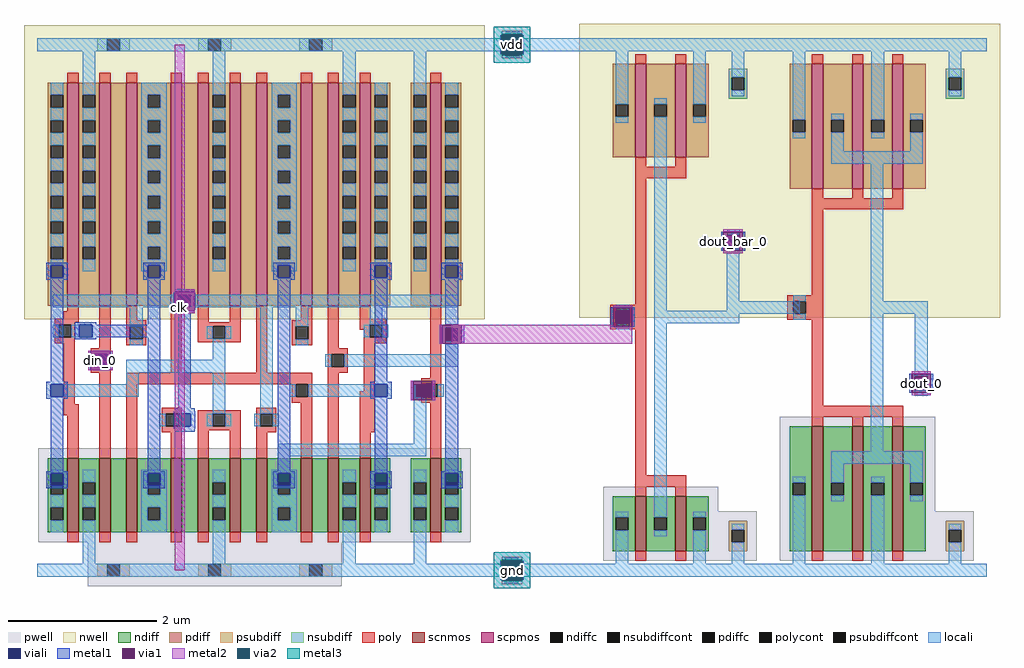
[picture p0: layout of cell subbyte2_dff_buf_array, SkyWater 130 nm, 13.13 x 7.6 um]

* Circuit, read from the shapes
.subckt subbyte2_dff_buf_array vdd gnd din_0 dout_0 dout_bar_0 clk
XM1 gnd n1 n2 gnd sky130_fd_pr__nfet_01v8 w=1 l=0.15
XM2 n3 din_0 gnd gnd sky130_fd_pr__nfet_01v8 w=1 l=0.15
XM3 n1 n4 n3 gnd sky130_fd_pr__nfet_01v8 w=1 l=0.15
XM4 n5 clk n1 gnd sky130_fd_pr__nfet_01v8 w=1 l=0.15
XM5 gnd n2 n5 gnd sky130_fd_pr__nfet_01v8 w=1 l=0.15
XM6 n6 n2 gnd gnd sky130_fd_pr__nfet_01v8 w=1 l=0.15
XM7 subbyte2_dff_buf_0_0/sky130_fd_bd_sram__openram_dff_0/QN clk n6 gnd sky130_fd_pr__nfet_01v8 w=1 l=0.15
XM8 n7 n4 subbyte2_dff_buf_0_0/sky130_fd_bd_sram__openram_dff_0/QN gnd sky130_fd_pr__nfet_01v8 w=1 l=0.15
XM9 gnd subbyte2_dff_buf_0_0/subbyte2_pinv_1_0/A n7 gnd sky130_fd_pr__nfet_01v8 w=1 l=0.15
XM10 n4 clk gnd gnd sky130_fd_pr__nfet_01v8 w=1 l=0.15
XM11 subbyte2_dff_buf_0_0/subbyte2_pinv_1_0/A subbyte2_dff_buf_0_0/sky130_fd_bd_sram__openram_dff_0/QN gnd gnd sky130_fd_pr__nfet_01v8 w=1 l=0.15
XM12 dout_bar_0 subbyte2_dff_buf_0_0/subbyte2_pinv_1_0/A gnd gnd sky130_fd_pr__nfet_01v8 w=0.74 l=0.15 m=2
XM13 dout_0 dout_bar_0 gnd gnd sky130_fd_pr__nfet_01v8 w=1.68 l=0.15 m=3
XM14 vdd n1 n2 vdd sky130_fd_pr__pfet_01v8 w=3 l=0.15
XM15 n8 din_0 vdd vdd sky130_fd_pr__pfet_01v8 w=3 l=0.15
XM16 n1 clk n8 vdd sky130_fd_pr__pfet_01v8 w=3 l=0.15
XM17 n9 n4 n1 vdd sky130_fd_pr__pfet_01v8 w=3 l=0.15
XM18 vdd n2 n9 vdd sky130_fd_pr__pfet_01v8 w=3 l=0.15
XM19 n10 n2 vdd vdd sky130_fd_pr__pfet_01v8 w=3 l=0.15
XM20 subbyte2_dff_buf_0_0/sky130_fd_bd_sram__openram_dff_0/QN n4 n10 vdd sky130_fd_pr__pfet_01v8 w=3 l=0.15
XM21 n11 clk subbyte2_dff_buf_0_0/sky130_fd_bd_sram__openram_dff_0/QN vdd sky130_fd_pr__pfet_01v8 w=3 l=0.15
XM22 vdd subbyte2_dff_buf_0_0/subbyte2_pinv_1_0/A n11 vdd sky130_fd_pr__pfet_01v8 w=3 l=0.15
XM23 n4 clk vdd vdd sky130_fd_pr__pfet_01v8 w=3 l=0.15
XM24 subbyte2_dff_buf_0_0/subbyte2_pinv_1_0/A subbyte2_dff_buf_0_0/sky130_fd_bd_sram__openram_dff_0/QN vdd vdd sky130_fd_pr__pfet_01v8 w=3 l=0.15
XM25 dout_bar_0 subbyte2_dff_buf_0_0/subbyte2_pinv_1_0/A vdd vdd sky130_fd_pr__pfet_01v8 w=1.26 l=0.15 m=2
XM26 dout_0 dout_bar_0 vdd vdd sky130_fd_pr__pfet_01v8 w=1.68 l=0.15 m=3
.ends

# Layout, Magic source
magic
tech sky130A
magscale 1 2
<< locali >>
rect 1260 1432 1294 1447
rect 0 1431 2554 1432
rect 0 1397 1260 1431
rect 1294 1397 2554 1431
rect 0 1396 2554 1397
rect 1260 1381 1294 1396
rect 1260 18 1294 33
rect 0 17 2554 18
rect 0 -17 1260 17
rect 1294 -17 2554 17
rect 0 -18 2554 -17
rect 1260 -33 1294 -18
<< viali >>
rect 1260 1397 1294 1431
rect 1260 -17 1294 17
<< metal1 >>
rect 1245 1388 1251 1440
rect 1303 1388 1309 1440
rect 1245 -26 1251 26
rect 1303 -26 1309 26
<< via1 >>
rect 1251 1431 1303 1440
rect 1251 1397 1260 1431
rect 1260 1397 1294 1431
rect 1294 1397 1303 1431
rect 1251 1388 1303 1397
rect 1251 17 1303 26
rect 1251 -17 1260 17
rect 1260 -17 1294 17
rect 1294 -17 1303 17
rect 1251 -26 1303 -17
<< metal2 >>
rect 1249 1442 1305 1451
rect 137 538 203 590
rect 369 0 397 1414
rect 1249 1377 1305 1386
rect 1858 871 1886 899
rect 2364 489 2392 517
rect 1249 28 1305 37
rect 1249 -37 1305 -28
<< via2 >>
rect 1249 1440 1305 1442
rect 1249 1388 1251 1440
rect 1251 1388 1303 1440
rect 1303 1388 1305 1440
rect 1249 1386 1305 1388
rect 1249 26 1305 28
rect 1249 -26 1251 26
rect 1251 -26 1303 26
rect 1303 -26 1305 26
rect 1249 -28 1305 -26
<< metal3 >>
rect 1228 1442 1326 1463
rect 1228 1386 1249 1442
rect 1305 1386 1326 1442
rect 1228 1365 1326 1386
rect 1228 28 1326 49
rect 1228 -28 1249 28
rect 1305 -28 1326 28
rect 1228 -49 1326 -28
use subbyte2_dff_buf_0  subbyte2_dff_buf_0_0
transform 1 0 0 0 1 0
box -36 -43 2590 1471
<< labels >>
rlabel metal3 s 1228 1365 1326 1463 4 vdd
port 3 nsew
rlabel metal3 s 1228 -49 1326 49 4 gnd
port 5 nsew
rlabel metal2 s 137 538 203 590 4 din_0
port 7 nsew
rlabel metal2 s 2364 489 2392 517 4 dout_0
port 9 nsew
rlabel metal2 s 1858 871 1886 899 4 dout_bar_0
port 11 nsew
rlabel metal2 s 369 0 397 1414 4 clk
port 13 nsew
<< properties >>
string FIXED_BBOX 1244 -37 1310 0
<< end >>

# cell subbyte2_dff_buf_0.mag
magic
tech sky130A
magscale 1 2
<< locali >>
rect 0 1396 2554 1432
rect 1856 902 1890 918
rect 1855 868 1856 885
rect 1855 852 1890 868
rect 1855 724 1889 852
rect 1558 698 1592 714
rect 1855 698 2051 724
rect 1694 690 2051 698
rect 2276 690 2395 724
rect 1694 664 1889 690
rect 1558 648 1592 664
rect 2361 520 2395 690
rect 2361 470 2395 486
rect 0 -18 2554 18
<< viali >>
rect 1856 868 1890 902
rect 1558 664 1592 698
rect 2361 486 2395 520
<< metal1 >>
rect 1840 859 1846 911
rect 1898 859 1904 911
rect 1543 655 1549 707
rect 1601 655 1607 707
rect 2346 477 2352 529
rect 2404 477 2410 529
<< via1 >>
rect 1846 902 1898 911
rect 1846 868 1856 902
rect 1856 868 1890 902
rect 1890 868 1898 902
rect 1846 859 1898 868
rect 1549 698 1601 707
rect 1549 664 1558 698
rect 1558 664 1592 698
rect 1592 664 1601 698
rect 1549 655 1601 664
rect 2352 520 2404 529
rect 2352 486 2361 520
rect 2361 486 2395 520
rect 2395 486 2404 520
rect 2352 477 2404 486
<< metal2 >>
rect 1846 911 1898 917
rect 1846 853 1898 859
rect 369 692 423 756
rect 1549 707 1601 713
rect 1115 655 1549 661
rect 1115 609 1601 655
rect 137 538 203 590
rect 2352 529 2404 535
rect 2352 471 2404 477
use sky130_fd_bd_sram__openram_dff  sky130_fd_bd_sram__openram_dff_0
transform 1 0 0 0 1 0
box -36 -43 1204 1467
use subbyte2_pinv_1  subbyte2_pinv_1_0
transform 1 0 1494 0 1 0
box -36 -17 512 1471
use subbyte2_pinv_2  subbyte2_pinv_2_0
transform 1 0 1970 0 1 0
box -36 -17 620 1471
<< labels >>
rlabel locali s 1277 1414 1277 1414 4 vdd
port 2 nsew
rlabel locali s 1277 0 1277 0 4 gnd
port 3 nsew
rlabel metal2 s 369 692 423 756 4 clk
port 5 nsew
rlabel metal2 s 137 538 203 590 4 D
port 7 nsew
rlabel metal2 s 2364 489 2392 517 4 Q
port 9 nsew
rlabel metal2 s 1858 871 1886 899 4 Qb
port 11 nsew
<< properties >>
string FIXED_BBOX 0 0 2554 1414
<< end >>

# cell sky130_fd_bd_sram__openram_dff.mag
magic
tech sky130A
magscale 1 2
<< nwell >>
rect -36 676 1204 1467
<< pwell >>
rect 2 76 1166 328
rect 135 -43 819 76
<< scnmos >>
rect 81 102 111 302
rect 167 102 197 302
rect 239 102 269 302
rect 359 102 389 302
rect 431 102 461 302
rect 517 102 547 302
rect 589 102 619 302
rect 709 102 739 302
rect 781 102 811 302
rect 867 102 897 302
rect 1057 102 1087 302
<< scpmos >>
rect 81 712 111 1312
rect 167 712 197 1312
rect 239 712 269 1312
rect 359 712 389 1312
rect 431 712 461 1312
rect 517 712 547 1312
rect 589 712 619 1312
rect 709 712 739 1312
rect 781 712 811 1312
rect 867 712 897 1312
rect 1057 712 1087 1312
<< ndiff >>
rect 28 237 81 302
rect 28 203 36 237
rect 70 203 81 237
rect 28 169 81 203
rect 28 135 36 169
rect 70 135 81 169
rect 28 102 81 135
rect 111 237 167 302
rect 111 203 122 237
rect 156 203 167 237
rect 111 169 167 203
rect 111 135 122 169
rect 156 135 167 169
rect 111 102 167 135
rect 197 102 239 302
rect 269 237 359 302
rect 269 203 297 237
rect 331 203 359 237
rect 269 169 359 203
rect 269 135 297 169
rect 331 135 359 169
rect 269 102 359 135
rect 389 102 431 302
rect 461 237 517 302
rect 461 203 472 237
rect 506 203 517 237
rect 461 169 517 203
rect 461 135 472 169
rect 506 135 517 169
rect 461 102 517 135
rect 547 102 589 302
rect 619 237 709 302
rect 619 203 647 237
rect 681 203 709 237
rect 619 169 709 203
rect 619 135 647 169
rect 681 135 709 169
rect 619 102 709 135
rect 739 102 781 302
rect 811 237 867 302
rect 811 203 822 237
rect 856 203 867 237
rect 811 169 867 203
rect 811 135 822 169
rect 856 135 867 169
rect 811 102 867 135
rect 897 237 950 302
rect 897 203 908 237
rect 942 203 950 237
rect 897 169 950 203
rect 897 135 908 169
rect 942 135 950 169
rect 897 102 950 135
rect 1004 237 1057 302
rect 1004 203 1012 237
rect 1046 203 1057 237
rect 1004 169 1057 203
rect 1004 135 1012 169
rect 1046 135 1057 169
rect 1004 102 1057 135
rect 1087 237 1140 302
rect 1087 203 1098 237
rect 1132 203 1140 237
rect 1087 169 1140 203
rect 1087 135 1098 169
rect 1132 135 1140 169
rect 1087 102 1140 135
<< pdiff >>
rect 28 1279 81 1312
rect 28 1245 36 1279
rect 70 1245 81 1279
rect 28 1211 81 1245
rect 28 1177 36 1211
rect 70 1177 81 1211
rect 28 1143 81 1177
rect 28 1109 36 1143
rect 70 1109 81 1143
rect 28 1075 81 1109
rect 28 1041 36 1075
rect 70 1041 81 1075
rect 28 1007 81 1041
rect 28 973 36 1007
rect 70 973 81 1007
rect 28 939 81 973
rect 28 905 36 939
rect 70 905 81 939
rect 28 871 81 905
rect 28 837 36 871
rect 70 837 81 871
rect 28 712 81 837
rect 111 1279 167 1312
rect 111 1245 122 1279
rect 156 1245 167 1279
rect 111 1211 167 1245
rect 111 1177 122 1211
rect 156 1177 167 1211
rect 111 1143 167 1177
rect 111 1109 122 1143
rect 156 1109 167 1143
rect 111 1075 167 1109
rect 111 1041 122 1075
rect 156 1041 167 1075
rect 111 1007 167 1041
rect 111 973 122 1007
rect 156 973 167 1007
rect 111 939 167 973
rect 111 905 122 939
rect 156 905 167 939
rect 111 871 167 905
rect 111 837 122 871
rect 156 837 167 871
rect 111 712 167 837
rect 197 712 239 1312
rect 269 1279 359 1312
rect 269 1245 297 1279
rect 331 1245 359 1279
rect 269 1211 359 1245
rect 269 1177 297 1211
rect 331 1177 359 1211
rect 269 1143 359 1177
rect 269 1109 297 1143
rect 331 1109 359 1143
rect 269 1075 359 1109
rect 269 1041 297 1075
rect 331 1041 359 1075
rect 269 1007 359 1041
rect 269 973 297 1007
rect 331 973 359 1007
rect 269 939 359 973
rect 269 905 297 939
rect 331 905 359 939
rect 269 871 359 905
rect 269 837 297 871
rect 331 837 359 871
rect 269 712 359 837
rect 389 712 431 1312
rect 461 1279 517 1312
rect 461 1245 472 1279
rect 506 1245 517 1279
rect 461 1211 517 1245
rect 461 1177 472 1211
rect 506 1177 517 1211
rect 461 1143 517 1177
rect 461 1109 472 1143
rect 506 1109 517 1143
rect 461 1075 517 1109
rect 461 1041 472 1075
rect 506 1041 517 1075
rect 461 1007 517 1041
rect 461 973 472 1007
rect 506 973 517 1007
rect 461 939 517 973
rect 461 905 472 939
rect 506 905 517 939
rect 461 871 517 905
rect 461 837 472 871
rect 506 837 517 871
rect 461 712 517 837
rect 547 712 589 1312
rect 619 1279 709 1312
rect 619 1245 647 1279
rect 681 1245 709 1279
rect 619 1211 709 1245
rect 619 1177 647 1211
rect 681 1177 709 1211
rect 619 1143 709 1177
rect 619 1109 647 1143
rect 681 1109 709 1143
rect 619 1075 709 1109
rect 619 1041 647 1075
rect 681 1041 709 1075
rect 619 1007 709 1041
rect 619 973 647 1007
rect 681 973 709 1007
rect 619 939 709 973
rect 619 905 647 939
rect 681 905 709 939
rect 619 871 709 905
rect 619 837 647 871
rect 681 837 709 871
rect 619 712 709 837
rect 739 712 781 1312
rect 811 1279 867 1312
rect 811 1245 822 1279
rect 856 1245 867 1279
rect 811 1211 867 1245
rect 811 1177 822 1211
rect 856 1177 867 1211
rect 811 1143 867 1177
rect 811 1109 822 1143
rect 856 1109 867 1143
rect 811 1075 867 1109
rect 811 1041 822 1075
rect 856 1041 867 1075
rect 811 1007 867 1041
rect 811 973 822 1007
rect 856 973 867 1007
rect 811 939 867 973
rect 811 905 822 939
rect 856 905 867 939
rect 811 871 867 905
rect 811 837 822 871
rect 856 837 867 871
rect 811 712 867 837
rect 897 1279 950 1312
rect 897 1245 908 1279
rect 942 1245 950 1279
rect 897 1211 950 1245
rect 897 1177 908 1211
rect 942 1177 950 1211
rect 897 1143 950 1177
rect 897 1109 908 1143
rect 942 1109 950 1143
rect 897 1075 950 1109
rect 897 1041 908 1075
rect 942 1041 950 1075
rect 897 1007 950 1041
rect 897 973 908 1007
rect 942 973 950 1007
rect 897 939 950 973
rect 897 905 908 939
rect 942 905 950 939
rect 897 871 950 905
rect 897 837 908 871
rect 942 837 950 871
rect 897 712 950 837
rect 1004 1279 1057 1312
rect 1004 1245 1012 1279
rect 1046 1245 1057 1279
rect 1004 1211 1057 1245
rect 1004 1177 1012 1211
rect 1046 1177 1057 1211
rect 1004 1143 1057 1177
rect 1004 1109 1012 1143
rect 1046 1109 1057 1143
rect 1004 1075 1057 1109
rect 1004 1041 1012 1075
rect 1046 1041 1057 1075
rect 1004 1007 1057 1041
rect 1004 973 1012 1007
rect 1046 973 1057 1007
rect 1004 939 1057 973
rect 1004 905 1012 939
rect 1046 905 1057 939
rect 1004 871 1057 905
rect 1004 837 1012 871
rect 1046 837 1057 871
rect 1004 712 1057 837
rect 1087 1279 1140 1312
rect 1087 1245 1098 1279
rect 1132 1245 1140 1279
rect 1087 1211 1140 1245
rect 1087 1177 1098 1211
rect 1132 1177 1140 1211
rect 1087 1143 1140 1177
rect 1087 1109 1098 1143
rect 1132 1109 1140 1143
rect 1087 1075 1140 1109
rect 1087 1041 1098 1075
rect 1132 1041 1140 1075
rect 1087 1007 1140 1041
rect 1087 973 1098 1007
rect 1132 973 1140 1007
rect 1087 939 1140 973
rect 1087 905 1098 939
rect 1132 905 1140 939
rect 1087 871 1140 905
rect 1087 837 1098 871
rect 1132 837 1140 871
rect 1087 712 1140 837
<< ndiffc >>
rect 36 203 70 237
rect 36 135 70 169
rect 122 203 156 237
rect 122 135 156 169
rect 297 203 331 237
rect 297 135 331 169
rect 472 203 506 237
rect 472 135 506 169
rect 647 203 681 237
rect 647 135 681 169
rect 822 203 856 237
rect 822 135 856 169
rect 908 203 942 237
rect 908 135 942 169
rect 1012 203 1046 237
rect 1012 135 1046 169
rect 1098 203 1132 237
rect 1098 135 1132 169
<< pdiffc >>
rect 36 1245 70 1279
rect 36 1177 70 1211
rect 36 1109 70 1143
rect 36 1041 70 1075
rect 36 973 70 1007
rect 36 905 70 939
rect 36 837 70 871
rect 122 1245 156 1279
rect 122 1177 156 1211
rect 122 1109 156 1143
rect 122 1041 156 1075
rect 122 973 156 1007
rect 122 905 156 939
rect 122 837 156 871
rect 297 1245 331 1279
rect 297 1177 331 1211
rect 297 1109 331 1143
rect 297 1041 331 1075
rect 297 973 331 1007
rect 297 905 331 939
rect 297 837 331 871
rect 472 1245 506 1279
rect 472 1177 506 1211
rect 472 1109 506 1143
rect 472 1041 506 1075
rect 472 973 506 1007
rect 472 905 506 939
rect 472 837 506 871
rect 647 1245 681 1279
rect 647 1177 681 1211
rect 647 1109 681 1143
rect 647 1041 681 1075
rect 647 973 681 1007
rect 647 905 681 939
rect 647 837 681 871
rect 822 1245 856 1279
rect 822 1177 856 1211
rect 822 1109 856 1143
rect 822 1041 856 1075
rect 822 973 856 1007
rect 822 905 856 939
rect 822 837 856 871
rect 908 1245 942 1279
rect 908 1177 942 1211
rect 908 1109 942 1143
rect 908 1041 942 1075
rect 908 973 942 1007
rect 908 905 942 939
rect 908 837 942 871
rect 1012 1245 1046 1279
rect 1012 1177 1046 1211
rect 1012 1109 1046 1143
rect 1012 1041 1046 1075
rect 1012 973 1046 1007
rect 1012 905 1046 939
rect 1012 837 1046 871
rect 1098 1245 1132 1279
rect 1098 1177 1132 1211
rect 1098 1109 1132 1143
rect 1098 1041 1132 1075
rect 1098 973 1132 1007
rect 1098 905 1132 939
rect 1098 837 1132 871
<< psubdiff >>
rect 161 -17 188 17
rect 222 -17 249 17
rect 433 -17 460 17
rect 494 -17 521 17
rect 705 -17 732 17
rect 766 -17 793 17
<< nsubdiff >>
rect 161 1397 188 1431
rect 222 1397 249 1431
rect 433 1397 460 1431
rect 494 1397 521 1431
rect 705 1397 732 1431
rect 766 1397 793 1431
<< psubdiffcont >>
rect 188 -17 222 17
rect 460 -17 494 17
rect 732 -17 766 17
<< nsubdiffcont >>
rect 188 1397 222 1431
rect 460 1397 494 1431
rect 732 1397 766 1431
<< poly >>
rect 81 1312 111 1338
rect 167 1312 197 1338
rect 239 1312 269 1338
rect 359 1312 389 1338
rect 431 1312 461 1338
rect 517 1312 547 1338
rect 589 1312 619 1338
rect 709 1312 739 1338
rect 781 1312 811 1338
rect 867 1312 897 1338
rect 1057 1312 1087 1338
rect 81 697 111 712
rect 70 677 111 697
rect 47 667 111 677
rect 47 661 101 667
rect 47 627 57 661
rect 91 627 101 661
rect 47 611 101 627
rect 71 447 101 611
rect 167 597 197 712
rect 239 672 269 712
rect 239 656 293 672
rect 239 622 249 656
rect 283 622 293 656
rect 239 606 293 622
rect 143 581 197 597
rect 143 547 153 581
rect 187 547 197 581
rect 143 531 197 547
rect 359 531 389 712
rect 431 667 461 712
rect 517 667 547 712
rect 431 657 547 667
rect 431 623 472 657
rect 506 623 547 657
rect 431 613 547 623
rect 589 531 619 712
rect 709 672 739 712
rect 685 656 739 672
rect 685 622 695 656
rect 729 622 739 656
rect 685 606 739 622
rect 781 597 811 712
rect 867 677 897 712
rect 867 661 938 677
rect 867 647 894 661
rect 878 627 894 647
rect 928 627 938 661
rect 878 611 938 627
rect 781 581 835 597
rect 781 547 791 581
rect 825 547 835 581
rect 781 531 835 547
rect 71 417 111 447
rect 81 302 111 417
rect 167 302 197 531
rect 239 501 739 531
rect 239 302 269 501
rect 685 467 695 501
rect 729 467 739 501
rect 685 451 739 467
rect 335 421 389 437
rect 335 387 345 421
rect 379 387 389 421
rect 335 371 389 387
rect 359 302 389 371
rect 431 421 547 431
rect 431 387 472 421
rect 506 387 547 421
rect 431 377 547 387
rect 431 302 461 377
rect 517 302 547 377
rect 589 421 643 437
rect 589 387 599 421
rect 633 387 643 421
rect 589 371 643 387
rect 589 302 619 371
rect 709 302 739 451
rect 781 302 811 531
rect 878 481 908 611
rect 1057 517 1087 712
rect 867 371 908 481
rect 1033 501 1087 517
rect 1033 467 1043 501
rect 1077 467 1087 501
rect 1033 451 1087 467
rect 867 302 897 371
rect 1057 302 1087 451
rect 81 76 111 102
rect 167 76 197 102
rect 239 76 269 102
rect 359 76 389 102
rect 431 76 461 102
rect 517 76 547 102
rect 589 76 619 102
rect 709 76 739 102
rect 781 76 811 102
rect 867 76 897 102
rect 1057 76 1087 102
<< polycont >>
rect 57 627 91 661
rect 249 622 283 656
rect 153 547 187 581
rect 472 623 506 657
rect 695 622 729 656
rect 894 627 928 661
rect 791 547 825 581
rect 695 467 729 501
rect 345 387 379 421
rect 472 387 506 421
rect 599 387 633 421
rect 1043 467 1077 501
<< locali >>
rect 0 1431 1168 1432
rect 0 1397 188 1431
rect 222 1397 460 1431
rect 494 1397 732 1431
rect 766 1397 1168 1431
rect 0 1396 1168 1397
rect 36 1279 70 1312
rect 36 1211 70 1245
rect 36 1143 70 1177
rect 36 1075 70 1109
rect 36 1007 70 1041
rect 36 939 70 973
rect 36 871 70 905
rect 36 821 70 837
rect 122 1279 156 1396
rect 122 1211 156 1245
rect 122 1143 156 1177
rect 122 1075 156 1109
rect 122 1007 156 1041
rect 122 939 156 973
rect 122 871 156 905
rect 122 804 156 837
rect 280 1279 348 1312
rect 280 1245 297 1279
rect 331 1245 348 1279
rect 280 1211 348 1245
rect 280 1177 297 1211
rect 331 1177 348 1211
rect 280 1143 348 1177
rect 280 1109 297 1143
rect 331 1109 348 1143
rect 280 1075 348 1109
rect 280 1041 297 1075
rect 331 1041 348 1075
rect 280 1007 348 1041
rect 280 973 297 1007
rect 331 973 348 1007
rect 280 939 348 973
rect 280 905 297 939
rect 331 905 348 939
rect 280 871 348 905
rect 280 837 297 871
rect 331 837 348 871
rect 280 821 348 837
rect 280 804 297 821
rect 331 804 348 821
rect 472 1279 506 1396
rect 472 1211 506 1245
rect 472 1143 506 1177
rect 472 1075 506 1109
rect 472 1007 506 1041
rect 472 939 506 973
rect 472 871 506 905
rect 472 804 506 837
rect 630 1279 698 1312
rect 630 1245 647 1279
rect 681 1245 698 1279
rect 630 1211 698 1245
rect 630 1177 647 1211
rect 681 1177 698 1211
rect 630 1143 698 1177
rect 630 1109 647 1143
rect 681 1109 698 1143
rect 630 1075 698 1109
rect 630 1041 647 1075
rect 681 1041 698 1075
rect 630 1007 698 1041
rect 630 973 647 1007
rect 681 973 698 1007
rect 630 939 698 973
rect 630 905 647 939
rect 681 905 698 939
rect 630 871 698 905
rect 630 837 647 871
rect 681 837 698 871
rect 630 821 698 837
rect 630 804 647 821
rect 681 804 698 821
rect 822 1279 856 1396
rect 822 1211 856 1245
rect 822 1143 856 1177
rect 822 1075 856 1109
rect 822 1007 856 1041
rect 822 939 856 973
rect 822 871 856 905
rect 822 804 856 837
rect 908 1279 942 1312
rect 908 1211 942 1245
rect 908 1143 942 1177
rect 908 1075 942 1109
rect 908 1007 942 1041
rect 908 939 942 973
rect 908 871 942 905
rect 908 821 942 837
rect 1012 1279 1046 1396
rect 1012 1211 1046 1245
rect 1012 1143 1046 1177
rect 1012 1075 1046 1109
rect 1012 1007 1046 1041
rect 1012 939 1046 973
rect 1012 871 1046 905
rect 1012 804 1046 837
rect 1098 1279 1132 1312
rect 1098 1211 1132 1245
rect 1098 1143 1132 1177
rect 1098 1075 1132 1109
rect 1098 1007 1132 1041
rect 1098 939 1132 973
rect 1098 871 1132 905
rect 1098 821 1132 837
rect 41 707 379 741
rect 413 707 1132 741
rect 41 627 57 661
rect 91 627 113 661
rect 249 656 283 707
rect 456 623 472 657
rect 506 623 522 657
rect 249 606 283 622
rect 137 547 153 581
rect 187 547 203 581
rect 472 566 506 623
rect 239 532 506 566
rect 239 501 273 532
rect 70 467 273 501
rect 472 421 506 532
rect 599 421 633 707
rect 695 656 729 707
rect 894 661 928 707
rect 878 627 894 661
rect 928 627 944 661
rect 695 606 729 622
rect 1098 581 1132 618
rect 775 547 791 581
rect 825 547 1132 581
rect 679 467 695 501
rect 729 467 908 501
rect 1012 467 1020 501
rect 1077 467 1093 501
rect 328 387 345 421
rect 456 387 472 421
rect 506 387 522 421
rect 583 387 599 421
rect 633 387 649 421
rect 1012 341 1046 467
rect 647 307 1046 341
rect 647 270 681 307
rect 36 261 70 270
rect 36 169 70 203
rect 36 102 70 135
rect 122 237 156 270
rect 122 169 156 203
rect 122 18 156 135
rect 280 261 348 270
rect 280 203 297 261
rect 331 203 348 261
rect 280 169 348 203
rect 280 135 297 169
rect 331 135 348 169
rect 280 102 348 135
rect 472 237 506 270
rect 472 169 506 203
rect 472 18 506 135
rect 630 261 698 270
rect 630 203 647 261
rect 681 203 698 261
rect 630 169 698 203
rect 630 135 647 169
rect 681 135 698 169
rect 630 102 698 135
rect 822 237 856 270
rect 822 169 856 203
rect 822 18 856 135
rect 908 261 942 271
rect 908 169 942 203
rect 908 102 942 135
rect 1012 237 1046 270
rect 1012 169 1046 203
rect 1012 18 1046 135
rect 1098 261 1132 271
rect 1098 169 1132 203
rect 1098 102 1132 135
rect 0 17 1168 18
rect 0 -17 188 17
rect 222 -17 460 17
rect 494 -17 732 17
rect 766 -17 1168 17
rect 0 -18 1168 -17
<< viali >>
rect 36 787 70 821
rect 297 787 331 821
rect 647 787 681 821
rect 908 787 942 821
rect 1098 787 1132 821
rect 379 707 413 741
rect 113 627 147 661
rect 153 547 187 581
rect 36 467 70 501
rect 1098 618 1132 652
rect 908 467 942 501
rect 1020 467 1043 501
rect 1043 467 1054 501
rect 379 387 413 421
rect 36 237 70 261
rect 36 227 70 237
rect 297 237 331 261
rect 297 227 331 237
rect 647 237 681 261
rect 647 227 681 237
rect 908 237 942 261
rect 908 227 942 237
rect 1098 237 1132 261
rect 1098 227 1132 237
<< metal1 >>
rect 24 821 82 827
rect 24 787 36 821
rect 70 787 82 821
rect 24 781 82 787
rect 285 821 343 827
rect 285 787 297 821
rect 331 787 343 821
rect 285 781 343 787
rect 635 821 693 827
rect 635 787 647 821
rect 681 787 693 821
rect 635 781 693 787
rect 896 821 954 827
rect 896 787 908 821
rect 942 787 954 821
rect 896 781 954 787
rect 1086 821 1144 827
rect 1086 787 1098 821
rect 1132 787 1144 821
rect 1086 781 1144 787
rect 36 507 70 781
rect 101 661 159 667
rect 297 661 331 781
rect 369 750 423 756
rect 369 747 370 750
rect 367 701 370 747
rect 422 747 423 750
rect 369 698 370 701
rect 422 701 425 747
rect 422 698 423 701
rect 369 692 423 698
rect 101 627 113 661
rect 147 627 331 661
rect 101 621 159 627
rect 137 538 144 590
rect 196 538 203 590
rect 24 501 82 507
rect 24 467 36 501
rect 70 467 82 501
rect 24 461 82 467
rect 36 267 70 461
rect 297 267 331 627
rect 379 436 413 692
rect 369 427 423 436
rect 367 421 425 427
rect 367 387 379 421
rect 413 387 425 421
rect 367 381 425 387
rect 369 372 423 381
rect 647 267 681 781
rect 908 507 942 781
rect 1098 661 1132 781
rect 1082 609 1089 661
rect 1141 609 1148 661
rect 896 501 954 507
rect 896 467 908 501
rect 942 467 954 501
rect 896 461 954 467
rect 908 267 942 461
rect 1004 458 1011 510
rect 1063 458 1070 510
rect 1098 267 1132 609
rect 24 261 82 267
rect 24 227 36 261
rect 70 227 82 261
rect 24 221 82 227
rect 285 261 343 267
rect 285 227 297 261
rect 331 227 343 261
rect 285 221 343 227
rect 635 261 693 267
rect 635 227 647 261
rect 681 227 693 261
rect 635 221 693 227
rect 896 261 954 267
rect 896 227 908 261
rect 942 227 954 261
rect 896 221 954 227
rect 1086 261 1144 267
rect 1086 227 1098 261
rect 1132 227 1144 261
rect 1086 221 1144 227
<< via1 >>
rect 370 741 422 750
rect 370 707 379 741
rect 379 707 413 741
rect 413 707 422 741
rect 370 698 422 707
rect 144 581 196 590
rect 144 547 153 581
rect 153 547 187 581
rect 187 547 196 581
rect 144 538 196 547
rect 1089 652 1141 661
rect 1089 618 1098 652
rect 1098 618 1132 652
rect 1132 618 1141 652
rect 1089 609 1141 618
rect 1011 501 1063 510
rect 1011 467 1020 501
rect 1020 467 1054 501
rect 1054 467 1063 501
rect 1011 458 1063 467
<< metal2 >>
rect 369 750 423 756
rect 369 698 370 750
rect 422 698 423 750
rect 369 692 423 698
rect 1082 609 1089 661
rect 1141 609 1148 661
rect 137 538 144 590
rect 196 538 203 590
rect 1004 458 1011 510
rect 1063 458 1070 510
<< labels >>
rlabel metal2 s 1007 504 1007 504 4 QN
port 2 nsew
rlabel metal2 s 369 692 423 756 4 CLK
port 4 nsew
rlabel metal2 s 137 538 203 590 4 D
port 6 nsew
rlabel metal2 s 1082 609 1148 661 4 Q
port 8 nsew
rlabel locali s 548 1416 548 1416 4 VDD
port 9 nsew
rlabel locali s 544 0 544 0 4 GND
port 10 nsew
rlabel metal2 s 170 564 170 564 4 D
port 6 nsew
rlabel metal2 s 1115 635 1115 635 4 Q
port 8 nsew
rlabel metal2 s 396 724 396 724 4 clk
port 11 nsew
rlabel locali s 584 1414 584 1414 4 vdd
port 12 nsew
rlabel locali s 584 0 584 0 4 gnd
port 13 nsew
<< properties >>
string FIXED_BBOX 0 0 1168 1414
<< end >>

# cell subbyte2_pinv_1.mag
magic
tech sky130A
magscale 1 2
<< nwell >>
rect -36 679 512 1471
<< pwell >>
rect 28 159 338 225
rect 28 25 442 159
<< scnmos >>
rect 114 51 144 199
rect 222 51 252 199
<< scpmos >>
rect 114 1111 144 1363
rect 222 1111 252 1363
<< ndiff >>
rect 54 142 114 199
rect 54 108 62 142
rect 96 108 114 142
rect 54 51 114 108
rect 144 142 222 199
rect 144 108 166 142
rect 200 108 222 142
rect 144 51 222 108
rect 252 142 312 199
rect 252 108 270 142
rect 304 108 312 142
rect 252 51 312 108
<< pdiff >>
rect 54 1254 114 1363
rect 54 1220 62 1254
rect 96 1220 114 1254
rect 54 1111 114 1220
rect 144 1254 222 1363
rect 144 1220 166 1254
rect 200 1220 222 1254
rect 144 1111 222 1220
rect 252 1254 312 1363
rect 252 1220 270 1254
rect 304 1220 312 1254
rect 252 1111 312 1220
<< ndiffc >>
rect 62 108 96 142
rect 166 108 200 142
rect 270 108 304 142
<< pdiffc >>
rect 62 1220 96 1254
rect 166 1220 200 1254
rect 270 1220 304 1254
<< psubdiff >>
rect 366 109 416 133
rect 366 75 374 109
rect 408 75 416 109
rect 366 51 416 75
<< nsubdiff >>
rect 366 1326 416 1350
rect 366 1292 374 1326
rect 408 1292 416 1326
rect 366 1268 416 1292
<< psubdiffcont >>
rect 374 75 408 109
<< nsubdiffcont >>
rect 374 1292 408 1326
<< poly >>
rect 114 1363 144 1389
rect 222 1363 252 1389
rect 114 1085 144 1111
rect 222 1085 252 1111
rect 114 1055 252 1085
rect 114 714 144 1055
rect 48 698 144 714
rect 48 664 64 698
rect 98 664 144 698
rect 48 648 144 664
rect 114 255 144 648
rect 114 225 252 255
rect 114 199 144 225
rect 222 199 252 225
rect 114 25 144 51
rect 222 25 252 51
<< polycont >>
rect 64 664 98 698
<< locali >>
rect 0 1397 476 1431
rect 62 1254 96 1397
rect 62 1204 96 1220
rect 166 1254 200 1270
rect 64 698 98 714
rect 64 648 98 664
rect 166 698 200 1220
rect 270 1254 304 1397
rect 374 1326 408 1397
rect 374 1276 408 1292
rect 270 1204 304 1220
rect 166 664 217 698
rect 62 142 96 158
rect 62 17 96 108
rect 166 142 200 664
rect 166 92 200 108
rect 270 142 304 158
rect 270 17 304 108
rect 374 109 408 125
rect 374 17 408 75
rect 0 -17 476 17
<< labels >>
rlabel locali s 81 681 81 681 4 A
port 1 nsew
rlabel locali s 200 681 200 681 4 Z
port 2 nsew
rlabel locali s 238 0 238 0 4 gnd
port 3 nsew
rlabel locali s 238 1414 238 1414 4 vdd
port 4 nsew
<< properties >>
string FIXED_BBOX 0 0 476 1153
<< end >>

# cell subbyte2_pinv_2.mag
magic
tech sky130A
magscale 1 2
<< nwell >>
rect -36 679 620 1471
<< pwell >>
rect 28 159 446 413
rect 28 25 550 159
<< scnmos >>
rect 114 51 144 387
rect 222 51 252 387
rect 330 51 360 387
<< scpmos >>
rect 114 1027 144 1363
rect 222 1027 252 1363
rect 330 1027 360 1363
<< ndiff >>
rect 54 236 114 387
rect 54 202 62 236
rect 96 202 114 236
rect 54 51 114 202
rect 144 236 222 387
rect 144 202 166 236
rect 200 202 222 236
rect 144 51 222 202
rect 252 236 330 387
rect 252 202 274 236
rect 308 202 330 236
rect 252 51 330 202
rect 360 236 420 387
rect 360 202 378 236
rect 412 202 420 236
rect 360 51 420 202
<< pdiff >>
rect 54 1212 114 1363
rect 54 1178 62 1212
rect 96 1178 114 1212
rect 54 1027 114 1178
rect 144 1212 222 1363
rect 144 1178 166 1212
rect 200 1178 222 1212
rect 144 1027 222 1178
rect 252 1212 330 1363
rect 252 1178 274 1212
rect 308 1178 330 1212
rect 252 1027 330 1178
rect 360 1212 420 1363
rect 360 1178 378 1212
rect 412 1178 420 1212
rect 360 1027 420 1178
<< ndiffc >>
rect 62 202 96 236
rect 166 202 200 236
rect 274 202 308 236
rect 378 202 412 236
<< pdiffc >>
rect 62 1178 96 1212
rect 166 1178 200 1212
rect 274 1178 308 1212
rect 378 1178 412 1212
<< psubdiff >>
rect 474 109 524 133
rect 474 75 482 109
rect 516 75 524 109
rect 474 51 524 75
<< nsubdiff >>
rect 474 1326 524 1350
rect 474 1292 482 1326
rect 516 1292 524 1326
rect 474 1268 524 1292
<< psubdiffcont >>
rect 482 75 516 109
<< nsubdiffcont >>
rect 482 1292 516 1326
<< poly >>
rect 114 1363 144 1389
rect 222 1363 252 1389
rect 330 1363 360 1389
rect 114 1001 144 1027
rect 222 1001 252 1027
rect 330 1001 360 1027
rect 114 971 360 1001
rect 114 740 144 971
rect 48 724 144 740
rect 48 690 64 724
rect 98 690 144 724
rect 48 674 144 690
rect 114 443 144 674
rect 114 413 360 443
rect 114 387 144 413
rect 222 387 252 413
rect 330 387 360 413
rect 114 25 144 51
rect 222 25 252 51
rect 330 25 360 51
<< polycont >>
rect 64 690 98 724
<< locali >>
rect 0 1397 584 1431
rect 62 1212 96 1397
rect 62 1162 96 1178
rect 166 1212 200 1228
rect 166 1128 200 1178
rect 274 1212 308 1397
rect 482 1326 516 1397
rect 482 1276 516 1292
rect 274 1162 308 1178
rect 378 1212 412 1228
rect 378 1128 412 1178
rect 166 1094 412 1128
rect 64 724 98 740
rect 64 674 98 690
rect 272 724 306 1094
rect 272 690 323 724
rect 272 320 306 690
rect 166 286 412 320
rect 62 236 96 252
rect 62 17 96 202
rect 166 236 200 286
rect 166 186 200 202
rect 274 236 308 252
rect 274 17 308 202
rect 378 236 412 286
rect 378 186 412 202
rect 482 109 516 125
rect 482 17 516 75
rect 0 -17 584 17
<< labels >>
rlabel locali s 81 707 81 707 4 A
port 1 nsew
rlabel locali s 306 707 306 707 4 Z
port 2 nsew
rlabel locali s 292 0 292 0 4 gnd
port 3 nsew
rlabel locali s 292 1414 292 1414 4 vdd
port 4 nsew
<< properties >>
string FIXED_BBOX 0 0 584 1111
<< end >>
